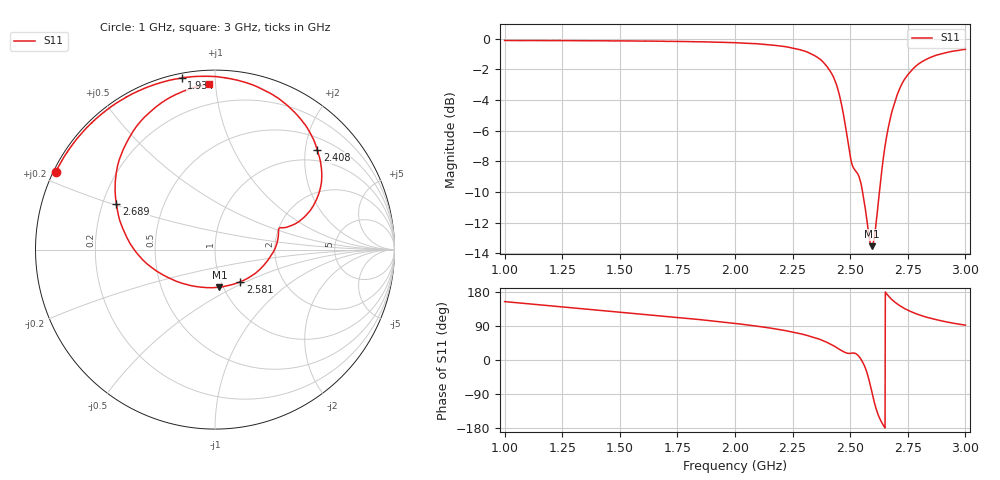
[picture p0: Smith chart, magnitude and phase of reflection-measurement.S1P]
!Agilent Technologies,E5071C,MY46105125,A.11.34
!Date: Wed Dec 20 12:06:09 2023
!Data & Calibration Information:
!Freq	S11:SOLT1(ON)
!PortZ  Port1:50+j0
!Above PortZ is port z conversion or system Z0 setting when saving the data.
!When reading, reference impedance value at option line is always used.
# Hz S dB R 50
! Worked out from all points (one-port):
!   1601 points, 1 GHz to 3 GHz, reference 50 ohm
!   lowest |S11| = -13.5 dB at 2.594 GHz (marker M1), VSWR 1.53, Z = 48 - j21 ohm
!   |S11| at or under -10 dB: 2.554 GHz to 2.627 GHz (73.01 MHz wide, 2.82 % of centre)
!   S11 on the Smith chart (normalised r, x): 1 GHz: 0.01, +0.23; 1.934 GHz: 0.02, +0.82; 2.408 GHz: 0.74, +2.25; 2.581 GHz: 1.23, -0.47; 2.689 GHz: 0.26, +0.21; 3 GHz: 0.08, +0.96
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1e9  -0.11 154.1
1.25e9  -0.12 139.9
1.5e9  -0.14 126.3
1.75e9  -0.17 112.3
1.93375e9  -0.23 101.0
2e9  -0.26 96.6
2.1425e9  -0.39 85.2
2.25e9  -0.61 73.8
2.34125e9  -1.07 60.0
2.4075e9  -1.98 44.2
2.45125e9  -3.57 28.9
2.47875e9  -5.64 19.7
2.5e9  -7.65 17.4
2.5275e9  -8.71 15.5
2.55125e9  -9.78 -2.7
2.56625e9  -11.16 -22.0
2.58125e9  -12.83 -51.7
2.59375e9  -13.54 -83.4
2.60375e9  -13.05 -109.4
2.6175e9  -11.32 -138.0
2.645e9  -7.65 -173.6
2.66625e9  -5.74 168.8
2.68875e9  -4.37 155.3
2.71625e9  -3.21 142.9
2.75e9  -2.35 131.4
2.79875e9  -1.62 119.3
2.85e9  -1.20 110.0
3e9  -0.69 91.9
